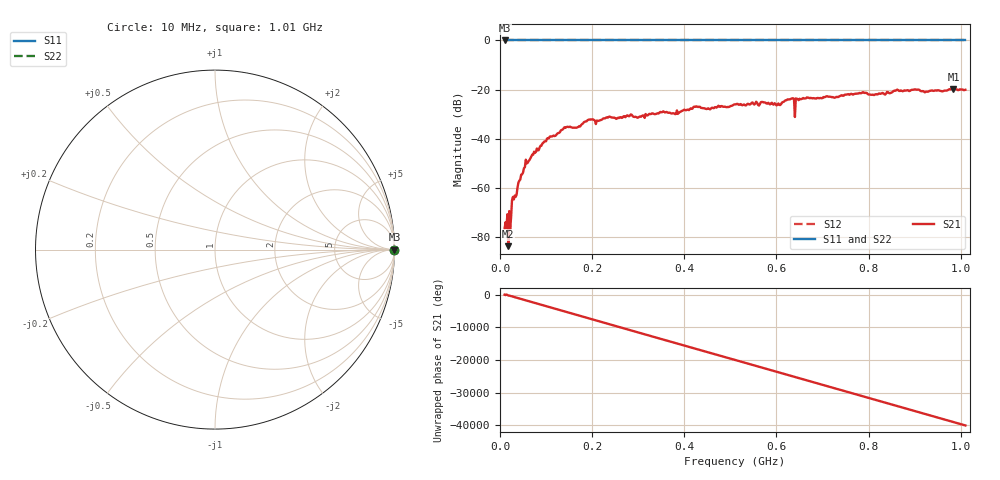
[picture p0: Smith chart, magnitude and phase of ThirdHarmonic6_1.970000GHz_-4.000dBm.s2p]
! 8/16/2025 11:41:51 PM
! C:\ANRITSUVNA\TEMP\TEMP.S2P
! CHANNEL.1
! TR.MEASUREMENT
! RAW.DATA
! RF.CORRECTION.OFF
! AVERAGING.OFF
! IF.BANDWIDTH: 5KHZ
! SWEEPTYPE:  FREQ.SWEEP(Linear)
! Reference Plane Port Info
! PORT:  PORT1  PORT2
! DISTANCE:  0  m  0  m
! TIME:  0  s  0  s
! PHASE.OFFSET:  0  deg.  0  deg.
! LOSS:  0  dB  0  dB
! REF.LOSS:  0  dB  0  dB
! REF.FREQ:  0  Hz  0  Hz
! Power Info
! POWER:  -20  dBm  -20  dBm
! EFF.POWER:  -20  dBm  -20  dBm
! SOURCE.ATTEN:  0  dB  0  dB
! TEST.ATTEN:  0  dB  0  dB
# GHZ S RI R 50.0
! FREQ.GHZ  S11RE  S11IM  S21RE  S21IM  S12RE  S12IM  S22RE  S22IM
!; PortSelection: Port_12
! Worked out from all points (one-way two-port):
!   501 points, 10 MHz to 1.01 GHz, reference 50 ohm
!   highest |S21| = -19.73 dB at 984 MHz (marker M1); lowest = -83.7 dB at 18 MHz (marker M2)
!   lowest |S11| = 0.0 dB at 10 MHz (marker M3)
!   |S11| at or under -10 dB: nowhere
!   |S22| runs from 0.0 to 0.0 dB; largest |S21 - S12| = 1.1
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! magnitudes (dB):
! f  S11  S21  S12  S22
! 10 MHz  0.0  -76.5  0.0  0.0
! 18 MHz  0.0  -83.7  0.0  0.0
! 22 MHz  0.0  -76.9  0.0  0.0
! 24 MHz  0.0  -72.1  0.0  0.0
! 30 MHz  0.0  -64.7  0.0  0.0
! 44 MHz  0.0  -56.6  0.0  0.0
! 56 MHz  0.0  -48.5  0.0  0.0
! 70 MHz  0.0  -46.4  0.0  0.0
! 106 MHz  0.0  -39.8  0.0  0.0
! 142 MHz  0.0  -35.5  0.0  0.0
! 178 MHz  0.0  -34.0  0.0  0.0
! 194 MHz  0.0  -32.1  0.0  0.0
! 344 MHz  0.0  -29.7  0.0  0.0
! 510 MHz  0.0  -26.0  0.0  0.0
! 604 MHz  0.0  -25.6  0.0  0.0
! 632 MHz  0.0  -23.7  0.0  0.0
! 644 MHz  0.0  -23.7  0.0  0.0
! 646 MHz  0.0  -23.8  0.0  0.0
! 678 MHz  0.0  -23.5  0.0  0.0
! 844 MHz  0.0  -21.4  0.0  0.0
! 984 MHz  0.0  -19.7  0.0  0.0
! 1.01 GHz  0.0  -20.1  0.0  0.0
